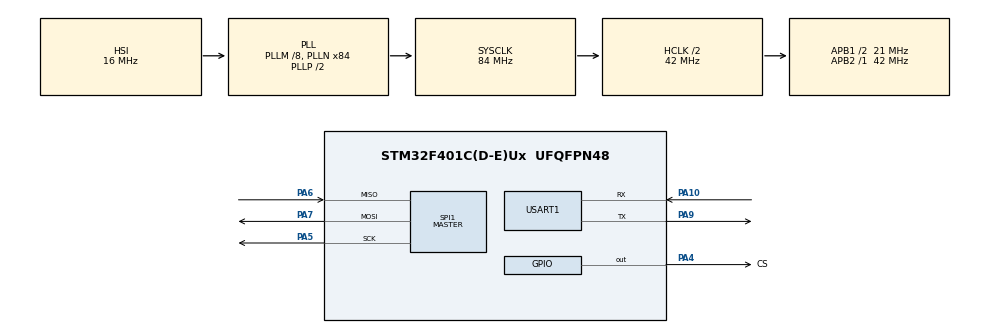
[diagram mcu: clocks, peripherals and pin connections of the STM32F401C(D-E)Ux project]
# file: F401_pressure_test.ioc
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Mcu.Family=STM32F4
Mcu.Name=STM32F401C(D-E)Ux
Mcu.Package=UFQFPN48
NVIC.PriorityGroup=NVIC_PRIORITYGROUP_4
PA10.Mode=Asynchronous
PA10.Signal=USART1_RX
PA13.Mode=Serial_Wire
PA13.Signal=SYS_JTMS-SWDIO
PA14.Mode=Serial_Wire
PA14.Signal=SYS_JTCK-SWCLK
PA4.GPIO_Label=CS
PA4.GPIO_PuPd=GPIO_PULLUP
PA4.GPIO_Speed=GPIO_SPEED_FREQ_VERY_HIGH
PA4.PinState=GPIO_PIN_SET
PA4.Signal=GPIO_Output
PA5.Mode=Full_Duplex_Master
PA5.Signal=SPI1_SCK
PA6.Mode=Full_Duplex_Master
PA6.Signal=SPI1_MISO
PA7.Mode=Full_Duplex_Master
PA7.Signal=SPI1_MOSI
PA9.Mode=Asynchronous
PA9.Signal=USART1_TX
ProjectManager.HeapSize=0x200
ProjectManager.StackSize=0x400
ProjectManager.TargetToolchain=STM32CubeIDE
RCC.48MHZClocksFreq_Value=42000000
RCC.AHBCLKDivider=RCC_SYSCLK_DIV2
RCC.AHBFreq_Value=42000000
RCC.APB1CLKDivider=RCC_HCLK_DIV2
RCC.APB1Freq_Value=21000000
RCC.APB1TimFreq_Value=42000000
RCC.APB2Freq_Value=42000000
RCC.APB2TimFreq_Value=42000000
RCC.CortexFreq_Value=42000000
RCC.HCLKFreq_Value=42000000
RCC.HSE_VALUE=25000000
RCC.HSI_VALUE=16000000
RCC.LSE_VALUE=32768
RCC.PLLM=8
RCC.PLLN=84
RCC.SYSCLKFreq_VALUE=84000000
RCC.SYSCLKSource=RCC_SYSCLKSOURCE_PLLCLK
RCC.VCOOutputFreq_Value=168000000
SPI1.BaudRatePrescaler=SPI_BAUDRATEPRESCALER_16
SPI1.CLKPhase=SPI_PHASE_2EDGE
SPI1.CLKPolarity=SPI_POLARITY_HIGH
SPI1.Direction=SPI_DIRECTION_2LINES
SPI1.Mode=SPI_MODE_MASTER
SPI1.VirtualType=VM_MASTER
USART1.VirtualMode=VM_ASYNC
board=custom

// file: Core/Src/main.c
/* USER CODE BEGIN Header */
/**
  ******************************************************************************
  * @file           : main.c
  * @brief          : Main program body
  ******************************************************************************
  * @attention
  *
  * Copyright (c) 2021 STMicroelectronics.
  * All rights reserved.
  *
  * This software is licensed under terms that can be found in the LICENSE file
  * in the root directory of this software component.
  * If no LICENSE file comes with this software, it is provided AS-IS.
  *
  ******************************************************************************
  */
/* USER CODE END Header */

#include "main.h"

/* USER CODE BEGIN Includes */
#include "stdio.h"
/* USER CODE END Includes */

/* USER CODE BEGIN PTD */
#ifdef __GNUC__
#define PUTCHAR_PROTOTYPE int __io_putchar(int ch)
#else
#define PUTCHAR_PROTOTYPE int fputc(int ch, FILE *f)
#endif
PUTCHAR_PROTOTYPE
{
//此处用的是USART2
//你在使用时仅仅需要把’USART2‘改成你的串口就可以�?????????
    while ((USART1->SR & 0X40) == 0);
    USART1->DR = (uint8_t) ch;
    return ch;
}
/* USER CODE END PTD */

SPI_HandleTypeDef hspi1;

UART_HandleTypeDef huart1;

/* USER CODE BEGIN PV */
double pressure;
int16_t pressure_cali[10];
int16_t temp_cali[4];
/* USER CODE END PV */

void SystemClock_Config(void);
static void MX_GPIO_Init(void);
static void MX_USART1_UART_Init(void);
static void MX_SPI1_Init(void);
/* USER CODE BEGIN PFP */
void bmp_init();
double pressure_read();
/* USER CODE END PFP */

int main(void)
{

  /* MCU Configuration--------------------------------------------------------*/

  /* Reset of all peripherals, Initializes the Flash interface and the Systick. */
  HAL_Init();

  /* Configure the system clock */
  SystemClock_Config();

  /* Initialize all configured peripherals */
  MX_GPIO_Init();
  MX_USART1_UART_Init();
  MX_SPI1_Init();

  /* Infinite loop */
  /* USER CODE BEGIN WHILE */
  bmp_init();

  double pressure_and_temperature[2];
  while (1)
  {
	  HAL_Delay(1000);

	  printf("Pressure: %.3f, temperature: %.3f\r\n", pressure_and_temperature[0], pressure_and_temperature[1]);
	  //pressure_read();
    /* USER CODE END WHILE */

  }
}

void SystemClock_Config(void)
{
  RCC_OscInitTypeDef RCC_OscInitStruct = {0};
  RCC_ClkInitTypeDef RCC_ClkInitStruct = {0};

  /** Configure the main internal regulator output voltage
  */
  __HAL_RCC_PWR_CLK_ENABLE();
  __HAL_PWR_VOLTAGESCALING_CONFIG(PWR_REGULATOR_VOLTAGE_SCALE2);
  /** Initializes the RCC Oscillators according to the specified parameters
  * in the RCC_OscInitTypeDef structure.
  */
  RCC_OscInitStruct.OscillatorType = RCC_OSCILLATORTYPE_HSI;
  RCC_OscInitStruct.HSIState = RCC_HSI_ON;
  RCC_OscInitStruct.HSICalibrationValue = RCC_HSICALIBRATION_DEFAULT;
  RCC_OscInitStruct.PLL.PLLState = RCC_PLL_ON;
  RCC_OscInitStruct.PLL.PLLSource = RCC_PLLSOURCE_HSI;
  RCC_OscInitStruct.PLL.PLLM = 8;
  RCC_OscInitStruct.PLL.PLLN = 84;
  RCC_OscInitStruct.PLL.PLLP = RCC_PLLP_DIV2;
  RCC_OscInitStruct.PLL.PLLQ = 4;
  if (HAL_RCC_OscConfig(&RCC_OscInitStruct) != HAL_OK)
  {
    Error_Handler();
  }
  /** Initializes the CPU, AHB and APB buses clocks
  */
  RCC_ClkInitStruct.ClockType = RCC_CLOCKTYPE_HCLK|RCC_CLOCKTYPE_SYSCLK
                              |RCC_CLOCKTYPE_PCLK1|RCC_CLOCKTYPE_PCLK2;
  RCC_ClkInitStruct.SYSCLKSource = RCC_SYSCLKSOURCE_PLLCLK;
  RCC_ClkInitStruct.AHBCLKDivider = RCC_SYSCLK_DIV2;
  RCC_ClkInitStruct.APB1CLKDivider = RCC_HCLK_DIV2;
  RCC_ClkInitStruct.APB2CLKDivider = RCC_HCLK_DIV1;

  if (HAL_RCC_ClockConfig(&RCC_ClkInitStruct, FLASH_LATENCY_1) != HAL_OK)
  {
    Error_Handler();
  }
}

static void MX_SPI1_Init(void)
{

  /* SPI1 parameter configuration*/
  hspi1.Instance = SPI1;
  hspi1.Init.Mode = SPI_MODE_MASTER;
  hspi1.Init.Direction = SPI_DIRECTION_2LINES;
  hspi1.Init.DataSize = SPI_DATASIZE_8BIT;
  hspi1.Init.CLKPolarity = SPI_POLARITY_HIGH;
  hspi1.Init.CLKPhase = SPI_PHASE_2EDGE;
  hspi1.Init.NSS = SPI_NSS_SOFT;
  hspi1.Init.BaudRatePrescaler = SPI_BAUDRATEPRESCALER_16;
  hspi1.Init.FirstBit = SPI_FIRSTBIT_MSB;
  hspi1.Init.TIMode = SPI_TIMODE_DISABLE;
  hspi1.Init.CRCCalculation = SPI_CRCCALCULATION_DISABLE;
  hspi1.Init.CRCPolynomial = 10;
  if (HAL_SPI_Init(&hspi1) != HAL_OK)
  {
    Error_Handler();
  }

}

static void MX_USART1_UART_Init(void)
{

  huart1.Instance = USART1;
  huart1.Init.BaudRate = 115200;
  huart1.Init.WordLength = UART_WORDLENGTH_8B;
  huart1.Init.StopBits = UART_STOPBITS_1;
  huart1.Init.Parity = UART_PARITY_NONE;
  huart1.Init.Mode = UART_MODE_TX_RX;
  huart1.Init.HwFlowCtl = UART_HWCONTROL_NONE;
  huart1.Init.OverSampling = UART_OVERSAMPLING_16;
  if (HAL_UART_Init(&huart1) != HAL_OK)
  {
    Error_Handler();
  }

}

static void MX_GPIO_Init(void)
{
  GPIO_InitTypeDef GPIO_InitStruct = {0};

  /* GPIO Ports Clock Enable */
  __HAL_RCC_GPIOA_CLK_ENABLE();

  /*Configure GPIO pin Output Level */
  HAL_GPIO_WritePin(CS_GPIO_Port, CS_Pin, GPIO_PIN_SET);

  /*Configure GPIO pin : CS_Pin */
  GPIO_InitStruct.Pin = CS_Pin;
  GPIO_InitStruct.Mode = GPIO_MODE_OUTPUT_PP;
  GPIO_InitStruct.Pull = GPIO_PULLUP;
  GPIO_InitStruct.Speed = GPIO_SPEED_FREQ_VERY_HIGH;
  HAL_GPIO_Init(CS_GPIO_Port, &GPIO_InitStruct);

}

/* USER CODE BEGIN 4 */
void bmp_init()
{
	uint8_t send[20]={0x75, 0B00010100,0x74, 0B01010111};
	//uint8_t send[25]={0x75, 0x00,0x74, 0xff};
	uint8_t receive[25];
	HAL_GPIO_WritePin(CS_GPIO_Port, CS_Pin, GPIO_PIN_RESET);
	HAL_SPI_TransmitReceive(&hspi1, send, receive, 4, 1000);
	HAL_GPIO_WritePin(CS_GPIO_Port, CS_Pin, GPIO_PIN_SET);
	HAL_Delay(10);
	send[0]=0x88;
	HAL_GPIO_WritePin(CS_GPIO_Port, CS_Pin, GPIO_PIN_RESET);
	HAL_SPI_TransmitReceive(&hspi1, send, receive, 25, 1000);
	HAL_GPIO_WritePin(CS_GPIO_Port, CS_Pin, GPIO_PIN_SET);
	HAL_Delay(10);
	for(uint8_t i=0; i<10; i++)
	{
		pressure_cali[i]=(uint16_t)receive[2*i+5]+256*(uint16_t)receive[2*i+6];
		printf("dP%d: %d\r\n", i, pressure_cali[i]);
	}
	//send[0]=0x88;
	//HAL_SPI_TransmitReceive(&hspi1, send, receive, 7, 1000);
	//HAL_UART_Transmit(&huart1, receive, 7, 1000);
	HAL_Delay(100);
	for(uint8_t i=1; i<4; i++)
	{
		temp_cali[i]=(uint16_t)receive[2*i-1]+256*(uint16_t)receive[2*i];
		printf("dT%d: %d\r\n", i, temp_cali[i]);
	}
}
double pressure_read()
{
	uint8_t read_pressure[7]={0xf7, 0x00, 0x00, 0X00, 0x00, 0x00, 0X00};
	uint8_t receive[7];
	uint32_t pressure_raw, temp_raw;
	double var1, var2, p, tfine, T;
	uint32_t pin, port;
	pin=CS_Pin;
	port=CS_GPIO_Port;
	HAL_GPIO_WritePin(port, pin, GPIO_PIN_RESET);
	HAL_SPI_TransmitReceive(&hspi1, read_pressure, receive, 7, 100);
	HAL_GPIO_WritePin(port, pin, GPIO_PIN_SET);
	HAL_Delay(10);
	pressure_raw=(((uint32_t)receive[1]<<12)|((uint32_t)receive[2]<<4)|((uint32_t)receive[3]>>4));
	temp_raw=((uint32_t)receive[4]*256*256+(uint32_t)receive[5]*256+(uint32_t)receive[6])/16;

	printf("press: %d, %d, %d, temp:%d, %d, %d\r\n", receive[1],receive[2],receive[3], receive[4],receive[5],receive[6]);
	var1=(((double)temp_raw)/16384.0-((double)((uint16_t)temp_cali[1]))/1024.0)    *(double)temp_cali[2];
	var2=((((double)temp_raw)/131072.0-((double)((uint16_t)temp_cali[1]))/8192.0)*(((double)temp_raw)/131072.0-((double)((uint16_t)temp_cali[1]))/8192.0))*((double)temp_cali[3]);
	tfine=var1+var2;
	T=tfine/5120.0;

	var1=tfine/2-64000;
	var2=var1*var1*((double)pressure_cali[6])/32768.0;
	var2=var2+var1*((double)pressure_cali[5])*2;
	var2=(var2/4)+(((double)pressure_cali[4])*65536.0);
	var1=(((double)pressure_cali[3])*var1*var1/524288.0+((double)pressure_cali[2])*var1)/524288.0;
	var1=(1.0+var1/32768.0)*((double)((uint16_t)pressure_cali[1]));
	p=1048576.0-(double)pressure_raw;
	p=(p-(var2/4096.0))*6250.0/var1;
	var1=((double)pressure_cali[9])*p*p/2147483648.0;
	var2=p*((double)pressure_cali[8])/32768.0;
	p=p+(var1+var2+((double)pressure_cali[7]))/16.0;
	printf("pressure: %.3f,  temperature: %.3f  \r\n", p, T);
	return p;

}

/* USER CODE END 4 */

void Error_Handler(void)
{
  __disable_irq();
  while (1)
  {
  }
}
